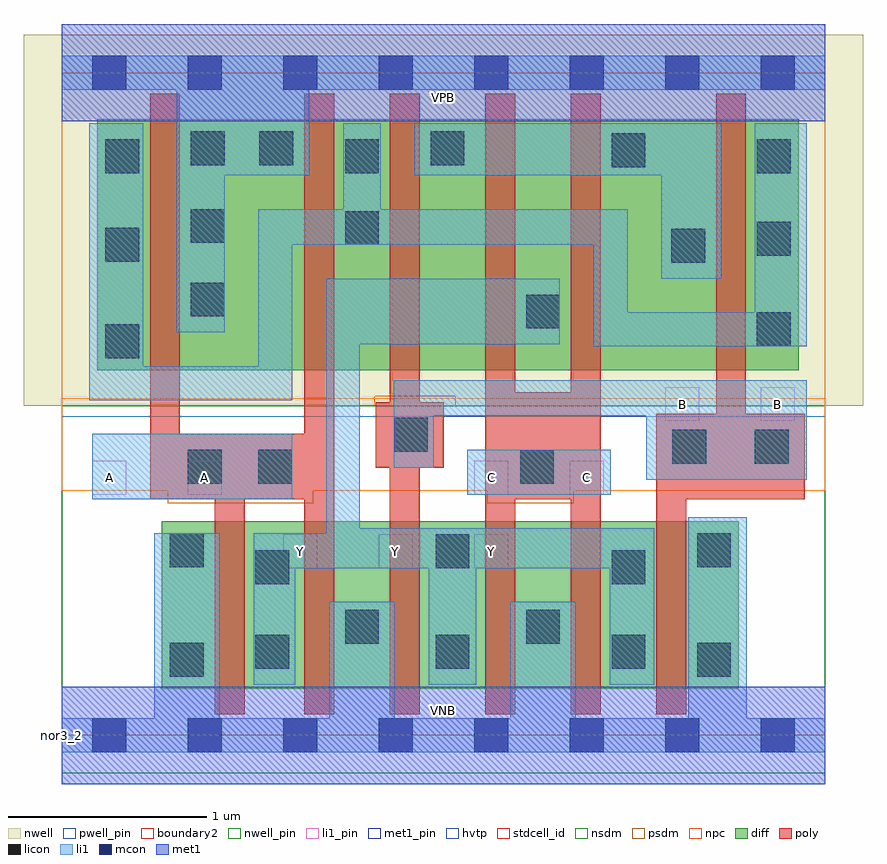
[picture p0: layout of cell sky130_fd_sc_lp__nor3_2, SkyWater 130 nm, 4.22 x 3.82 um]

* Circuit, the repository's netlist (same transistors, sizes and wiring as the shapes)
* Copyright 2020 The SkyWater PDK Authors
*
* Licensed under the Apache License, Version 2.0 (the "License");
* you may not use this file except in compliance with the License.
* You may obtain a copy of the License at
*
*     https://www.apache.org/licenses/LICENSE-2.0
*
* Unless required by applicable law or agreed to in writing, software
* distributed under the License is distributed on an "AS IS" BASIS,
* WITHOUT WARRANTIES OR CONDITIONS OF ANY KIND, either express or implied.
* See the License for the specific language governing permissions and
* limitations under the License.
*
* SPDX-License-Identifier: Apache-2.0

.SUBCKT sky130_fd_sc_lp__nor3_2 A B C VGND VNB VPB VPWR Y
*.PININFO A:I B:I C:I VGND:I VNB:I VPB:I VPWR:I Y:O
MMP0 VPWR A sndPA VPB sky130_fd_pr__pfet_01v8_hvt m=2 w=1.26U l=0.15U mult=1 sa=0.265
+ sb=0.265 sd=0.28 area=0.063 perim=1.14
MMP1 sndPA B sndPB VPB sky130_fd_pr__pfet_01v8_hvt m=2 w=1.26U l=0.15U mult=1 sa=0.265
+ sb=0.265 sd=0.28 area=0.063 perim=1.14
MMP2 sndPB C Y VPB sky130_fd_pr__pfet_01v8_hvt m=2 w=1.26U l=0.15U mult=1 sa=0.265
+ sb=0.265 sd=0.28 area=0.063 perim=1.14
MMN0 Y A VGND VNB sky130_fd_pr__nfet_01v8 m=2 w=0.84U l=0.15U mult=1 sa=0.265 sb=0.265
+ sd=0.28 area=0.063 perim=1.14
MMN1 Y B VGND VNB sky130_fd_pr__nfet_01v8 m=2 w=0.84U l=0.15U mult=1 sa=0.265 sb=0.265
+ sd=0.28 area=0.063 perim=1.14
MMN2 Y C VGND VNB sky130_fd_pr__nfet_01v8 m=2 w=0.84U l=0.15U mult=1 sa=0.265 sb=0.265
+ sd=0.28 area=0.063 perim=1.14
.ENDS sky130_fd_sc_lp__nor3_2

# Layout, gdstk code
import gdstk
lib = gdstk.Library(unit=1e-6, precision=1e-09)
def R(c, l, rs):  # rectangles x0, y0, x1, y1
    for r in rs: c.add(gdstk.rectangle(r[:2], r[2:], *l))
def A(c, l, x, y, w, h, nx, ny, dx, dy):  # array of equal rectangles
    R(c, l, [(x+i*dx, y+j*dy, x+i*dx+w, y+j*dy+h) for i in range(nx) for j in range(ny)])
def P(c, l, *ps):  # polygons
    for p in ps: c.add(gdstk.Polygon(p, *l))
nwell_pin = (64, 16)
nwell = (64, 20)
diff = (65, 20)
poly = (66, 20)
licon = (66, 44)
li1_pin = (67, 16)
li1 = (67, 20)
mcon = (67, 44)
met1_pin = (68, 16)
met1 = (68, 20)
hvtp = (78, 44)
stdcell_id = (81, 4)
nsdm = (93, 44)
psdm = (94, 20)
npc = (95, 20)
pwell_pin = (122, 16)
boundary2 = (236, 0)

sky130_fd_sc_lp__nor3_2 = lib.new_cell('sky130_fd_sc_lp__nor3_2')
R(sky130_fd_sc_lp__nor3_2, nwell_pin, [(0,3.085,3.84,3.33)])
R(sky130_fd_sc_lp__nor3_2, nwell, [(-0.19,1.655,4.03,3.52)])
R(sky130_fd_sc_lp__nor3_2, diff, [(0.505,0.235,3.405,1.075), (0.18,1.835,3.705,3.095)])
P(sky130_fd_sc_lp__nor3_2, poly, [(1.37,3.225),(1.22,3.225),(1.22,1.515),(0.595,1.515),(0.595,3.225),(0.445,3.225),(0.445,1.185),(0.77,1.185),(0.77,0.105),(0.92,0.105),(0.92,1.185),(1.22,1.185),(1.22,0.105),(1.37,0.105)],
  [(1.92,1.675),(1.8,1.675),(1.8,3.225),(1.65,3.225),(1.65,1.675),(1.58,1.675),(1.58,1.345),(1.65,1.345),(1.65,0.105),(1.8,0.105),(1.8,1.345),(1.92,1.345)],
  [(2.71,3.225),(2.56,3.225),(2.56,1.725),(2.28,1.725),(2.28,3.225),(2.13,3.225),(2.13,0.105),(2.28,0.105),(2.28,1.185),(2.56,1.185),(2.56,0.105),(2.71,0.105)],
  [(3.735,1.615),(3.44,1.615),(3.44,3.225),(3.29,3.225),(3.29,1.615),(2.99,1.615),(2.99,0.105),(3.14,0.105),(3.14,1.185),(3.735,1.185)])
R(sky130_fd_sc_lp__nor3_2, licon, [(0.545,0.295,0.715,0.465), (3.195,0.295,3.365,0.465), (0.975,0.335,1.145,0.505), (1.88,0.335,2.05,0.505), (2.765,0.335,2.935,0.505), (1.425,0.46,1.595,0.63), (2.335,0.46,2.505,0.63), (0.975,0.76,1.145,0.93), (2.765,0.76,2.935,0.93), (1.88,0.84,2.05,1.01), (0.545,0.845,0.715,1.015), (3.195,0.845,3.365,1.015), (0.635,1.265,0.805,1.435), (0.99,1.265,1.16,1.435), (2.305,1.265,2.475,1.435), (3.07,1.365,3.24,1.535), (3.485,1.365,3.655,1.535), (1.67,1.425,1.84,1.595), (0.22,1.895,0.39,2.065), (3.495,1.955,3.665,2.125), (2.335,2.045,2.505,2.215), (0.65,2.105,0.82,2.275), (3.065,2.375,3.235,2.545), (0.22,2.38,0.39,2.55), (3.495,2.41,3.665,2.58), (1.425,2.465,1.595,2.635), (0.65,2.475,0.82,2.645), (0.22,2.825,0.39,2.995), (1.425,2.825,1.595,2.995), (3.495,2.825,3.665,2.995), (2.765,2.855,2.935,3.025), (0.65,2.865,0.82,3.035), (0.995,2.865,1.165,3.035), (1.855,2.865,2.025,3.035)])
A(sky130_fd_sc_lp__nor3_2, li1_pin, 1.115, 0.84, 0.17, 0.17, 3, 1, 0.48, 0)
R(sky130_fd_sc_lp__nor3_2, li1_pin, [(0.155,1.21,0.325,1.38), (0.635,1.21,0.805,1.38), (2.075,1.21,2.245,1.38), (2.555,1.21,2.725,1.38), (3.035,1.58,3.205,1.75), (3.515,1.58,3.685,1.75)])
R(sky130_fd_sc_lp__nor3_2, li1, [(0.155,1.185,1.16,1.515), (2.04,1.21,2.76,1.435)])
P(sky130_fd_sc_lp__nor3_2, li1, [(3.84,3.415),(0,3.415),(0,3.245),(0.58,3.245),(0.58,2.025),(0.82,2.025),(0.82,2.815),(1.245,2.815),(1.245,3.245),(3.84,3.245)],
  [(2.255,0.085),(2.255,0.67),(2.585,0.67),(2.585,0.085),(3.15,0.085),(3.15,1.095),(3.445,1.095),(3.445,0.085),(3.84,0.085),(3.84,-0.085),(0,-0.085),(0,0.085),(0.465,0.085),(0.465,1.015),(0.795,1.015),(0.795,0.085),(1.345,0.085),(1.345,0.67),(1.675,0.67),(1.675,0.085)],
  [(1.845,0.255),(1.845,0.84),(1.175,0.84),(1.175,0.255),(0.965,0.255),(0.965,1.015),(1.33,1.015),(1.33,2.295),(2.505,2.295),(2.505,1.965),(1.5,1.965),(1.5,1.04),(2.98,1.04),(2.98,0.255),(2.755,0.255),(2.755,0.84),(2.085,0.84),(2.085,0.255)],
  [(3.745,1.785),(3.745,1.285),(2.94,1.285),(2.94,1.605),(1.87,1.605),(1.87,1.345),(1.67,1.345),(1.67,1.785)],
  [(2.845,2.125),(3.485,2.125),(3.485,3.075),(3.745,3.075),(3.745,1.955),(2.675,1.955),(2.675,2.465),(1.16,2.465),(1.16,1.685),(0.14,1.685),(0.14,3.075),(0.41,3.075),(0.41,1.855),(0.99,1.855),(0.99,2.645),(1.415,2.645),(1.415,3.075),(1.605,3.075),(1.605,2.645),(2.845,2.645)],
  [(3.315,3.075),(3.315,2.295),(3.015,2.295),(3.015,2.815),(1.775,2.815),(1.775,3.075)])
A(sky130_fd_sc_lp__nor3_2, mcon, 0.155, -0.085, 0.17, 0.17, 8, 2, 0.48, 3.33)
R(sky130_fd_sc_lp__nor3_2, met1_pin, [(0,0,3.84,0.245), (0,3.085,3.84,3.33)])
R(sky130_fd_sc_lp__nor3_2, met1, [(0,-0.245,3.84,0.245), (0,3.085,3.84,3.575)])
R(sky130_fd_sc_lp__nor3_2, hvtp, [(0,1.6,3.84,3.33)])
R(sky130_fd_sc_lp__nor3_2, stdcell_id, [(0,0,3.84,3.33)])
R(sky130_fd_sc_lp__nor3_2, nsdm, [(0,-0.19,3.84,1.655)])
P(sky130_fd_sc_lp__nor3_2, psdm, [(3.84,3.52),(0,3.52),(0,1.655),(1.575,1.655),(1.575,1.705),(1.98,1.705),(1.98,1.655),(3.84,1.655)])
P(sky130_fd_sc_lp__nor3_2, npc, [(3.84,1.695),(0,1.695),(0,1.23),(0.535,1.23),(0.535,1.165),(1.265,1.165),(1.265,1.23),(2.14,1.23),(2.14,1.165),(2.575,1.165),(2.575,1.23),(3.84,1.23)])
R(sky130_fd_sc_lp__nor3_2, pwell_pin, [(0,0,3.84,0.245)])
R(sky130_fd_sc_lp__nor3_2, boundary2, [(0,0,3.84,3.33)])
sky130_fd_sc_lp__nor3_2.add(gdstk.Label('VNB', (1.92,0.123), layer=64, texttype=59))
sky130_fd_sc_lp__nor3_2.add(gdstk.Label('VPB', (1.92,3.208), layer=64, texttype=5))
sky130_fd_sc_lp__nor3_2.add(gdstk.Label('nor3_2', (0,0), layer=83, texttype=44))
sky130_fd_sc_lp__nor3_2.add(gdstk.Label('VPWR', (1.92,3.208), layer=68, texttype=5))
sky130_fd_sc_lp__nor3_2.add(gdstk.Label('VGND', (1.92,0.123), layer=68, texttype=5))
sky130_fd_sc_lp__nor3_2.add(gdstk.Label('Y', (1.2,0.925), layer=67, texttype=5))
sky130_fd_sc_lp__nor3_2.add(gdstk.Label('Y', (1.68,0.925), layer=67, texttype=5))
sky130_fd_sc_lp__nor3_2.add(gdstk.Label('Y', (2.16,0.925), layer=67, texttype=5))
sky130_fd_sc_lp__nor3_2.add(gdstk.Label('B', (3.12,1.665), layer=67, texttype=5))
sky130_fd_sc_lp__nor3_2.add(gdstk.Label('A', (0.72,1.295), layer=67, texttype=5))
sky130_fd_sc_lp__nor3_2.add(gdstk.Label('B', (3.6,1.665), layer=67, texttype=5))
sky130_fd_sc_lp__nor3_2.add(gdstk.Label('C', (2.16,1.295), layer=67, texttype=5))
sky130_fd_sc_lp__nor3_2.add(gdstk.Label('C', (2.64,1.295), layer=67, texttype=5))
sky130_fd_sc_lp__nor3_2.add(gdstk.Label('A', (0.24,1.295), layer=67, texttype=5))

lib.write_gds('sky130_fd_sc_lp__nor3_2.gds')
